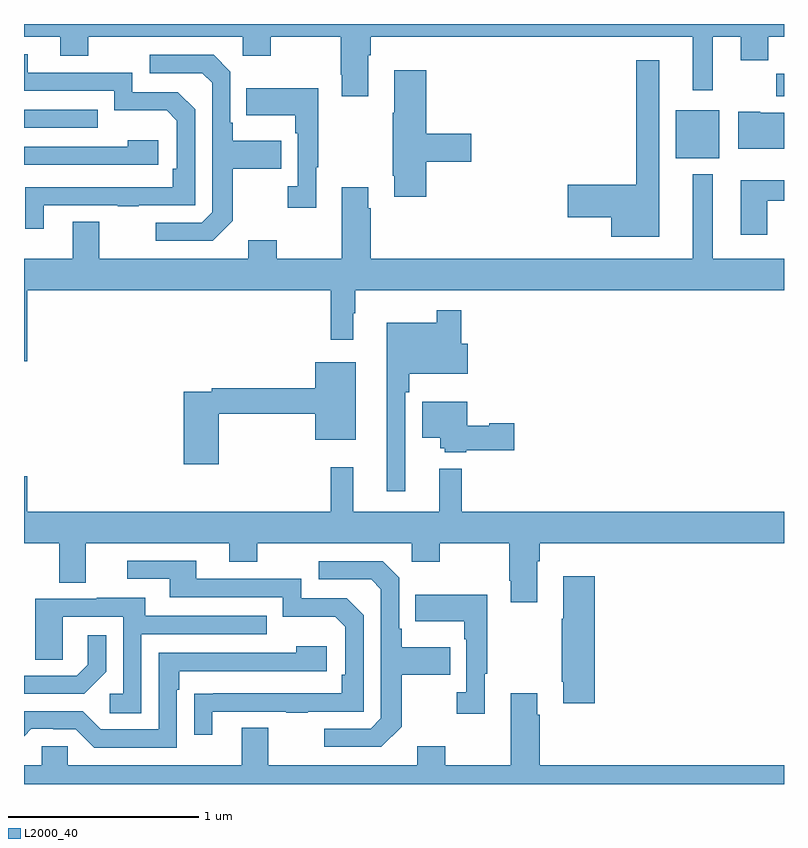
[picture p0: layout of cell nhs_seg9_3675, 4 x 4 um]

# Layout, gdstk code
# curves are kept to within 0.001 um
import gdstk
lib = gdstk.Library(unit=1e-6, precision=1e-09)
def R(c, l, rs):  # rectangles x0, y0, x1, y1
    for r in rs: c.add(gdstk.rectangle(r[:2], r[2:], *l))
def P(c, l, *ps):  # polygons
    for p in ps: c.add(gdstk.Polygon(p, *l))
L2000_40 = (2000, 40)

nhs_seg9_3675 = lib.new_cell('nhs_seg9_3675')
R(nhs_seg9_3675, L2000_40, [(324.431,1183.793,324.658,1184.047), (321,1183.953,321.389,1184.049), (324.958,1184.12,325,1184.239)])
P(nhs_seg9_3675, L2000_40, [(322.813,1184.336),(322.826,1184.336),(322.826,1184.432),(324.521,1184.432),(324.521,1184.151),(324.625,1184.151),(324.625,1184.432),(324.773,1184.432),(324.773,1184.308),(324.917,1184.308),(324.917,1184.432),(325,1184.432),(325,1184.5),(321,1184.5),(321,1184.432),(321.191,1184.432),(321.191,1184.333),(321.339,1184.333),(321.339,1184.432),(322.152,1184.432),(322.152,1184.333),(322.299,1184.333),(322.299,1184.432),(322.666,1184.432),(322.666,1184.233),(322.673,1184.233),(322.673,1184.121),(322.813,1184.121)],
  [(321.103,1183.545),(321.493,1183.545),(321.493,1183.54),(321.605,1183.54),(321.605,1183.545),(321.9,1183.545),(321.9,1184.052),(321.81,1184.142),(321.57,1184.142),(321.57,1184.244),(321.019,1184.244),(321.019,1184.34),(321,1184.34),(321,1184.148),(321.474,1184.148),(321.474,1184.045),(321.751,1184.045),(321.804,1183.992),(321.804,1183.738),(321.784,1183.738),(321.784,1183.641),(321.007,1183.64),(321.007,1183.422),(321.103,1183.422)],
  [(322.099,1183.465),(322.099,1183.738),(322.355,1183.738),(322.355,1183.885),(322.099,1183.885),(322.099,1183.981),(322.086,1183.981),(322.086,1184.25),(321.999,1184.337),(321.663,1184.337),(321.663,1184.241),(321.939,1184.241),(321.99,1184.19),(321.99,1183.509),(321.936,1183.455),(321.693,1183.455),(321.693,1183.359),(321.993,1183.359)],
  [(324.343,1184.308),(324.222,1184.308),(324.222,1183.655),(323.862,1183.655),(323.862,1183.484),(324.092,1183.484),(324.092,1183.379),(324.343,1183.379)],
  [(323.117,1183.775),(323.353,1183.775),(323.353,1183.922),(323.117,1183.922),(323.117,1184.257),(322.949,1184.257),(322.949,1184.033),(322.942,1184.033),(322.942,1183.702),(322.949,1183.702),(322.949,1183.59),(323.117,1183.59)],
  [(322.537,1183.745),(322.549,1183.745),(322.549,1184.161),(322.171,1184.161),(322.171,1184.021),(322.428,1184.021),(322.428,1183.925),(322.44,1183.925),(322.44,1183.646),(322.389,1183.646),(322.389,1183.533),(322.537,1183.533)],
  [(325,1184.032),(324.876,1184.032),(324.876,1184.038),(324.758,1184.038),(324.758,1183.844),(325,1183.844)],
  [(321.706,1183.888),(321.545,1183.888),(321.545,1183.854),(321,1183.854),(321,1183.758),(321.706,1183.758)],
  [(321.016,1183.1),(322.615,1183.1),(322.615,1182.837),(322.732,1182.837),(322.732,1182.977),(322.744,1182.977),(322.744,1183.1),(325,1183.1),(325,1183.264),(324.625,1183.264),(324.625,1183.708),(324.521,1183.708),(324.521,1183.264),(322.826,1183.264),(322.826,1183.529),(322.813,1183.529),(322.813,1183.642),(322.673,1183.642),(322.673,1183.264),(322.329,1183.264),(322.329,1183.363),(322.181,1183.363),(322.181,1183.264),(321.397,1183.264),(321.397,1183.459),(321.257,1183.459),(321.257,1183.264),(321,1183.264),(321,1182.726),(321.016,1182.726)],
  [(324.913,1183.569),(325,1183.569),(325,1183.678),(324.773,1183.678),(324.773,1183.392),(324.913,1183.392)],
  [(323.007,1182.563),(323.027,1182.563),(323.027,1182.659),(323.335,1182.659),(323.335,1182.817),(323.3,1182.817),(323.3,1182.994),(323.172,1182.994),(323.172,1182.928),(322.91,1182.928),(322.91,1182.042),(323.007,1182.042)],
  [(322.025,1182.448),(322.532,1182.448),(322.532,1182.311),(322.747,1182.311),(322.747,1182.721),(322.532,1182.721),(322.532,1182.584),(321.988,1182.584),(321.988,1182.564),(321.842,1182.564),(321.842,1182.183),(322.025,1182.183)],
  [(323.328,1182.256),(323.581,1182.256),(323.581,1182.398),(323.448,1182.398),(323.448,1182.385),(323.332,1182.385),(323.332,1182.511),(323.096,1182.511),(323.096,1182.323),(323.192,1182.323),(323.192,1182.267),(323.214,1182.267),(323.214,1182.245),(323.328,1182.245)],
  [(323.701,1181.672),(323.714,1181.672),(323.714,1181.768),(325,1181.768),(325,1181.932),(323.303,1181.932),(323.303,1182.16),(323.186,1182.16),(323.186,1181.932),(322.733,1181.932),(322.733,1182.166),(322.615,1182.166),(322.615,1181.932),(321.016,1181.932),(321.016,1182.121),(321,1182.121),(321,1181.768),(321.185,1181.768),(321.185,1181.56),(321.325,1181.56),(321.325,1181.768),(322.079,1181.768),(322.079,1181.669),(322.227,1181.669),(322.227,1181.768),(323.04,1181.768),(323.04,1181.669),(323.187,1181.669),(323.187,1181.768),(323.554,1181.768),(323.554,1181.569),(323.561,1181.569),(323.561,1181.457),(323.701,1181.457)],
  [(321.991,1180.881),(322.381,1180.881),(322.381,1180.876),(322.493,1180.876),(322.493,1180.881),(322.788,1180.881),(322.788,1181.388),(322.698,1181.478),(322.458,1181.478),(322.458,1181.58),(321.907,1181.58),(321.907,1181.676),(321.543,1181.676),(321.543,1181.58),(321.767,1181.58),(321.767,1181.484),(322.362,1181.484),(322.362,1181.381),(322.639,1181.381),(322.692,1181.328),(322.692,1181.074),(322.672,1181.074),(322.672,1180.977),(321.895,1180.976),(321.895,1180.758),(321.991,1180.758)],
  [(322.987,1180.801),(322.987,1181.074),(323.243,1181.074),(323.243,1181.221),(322.987,1181.221),(322.987,1181.317),(322.974,1181.317),(322.974,1181.586),(322.887,1181.673),(322.551,1181.673),(322.551,1181.577),(322.827,1181.577),(322.878,1181.526),(322.878,1180.845),(322.824,1180.791),(322.581,1180.791),(322.581,1180.695),(322.881,1180.695)],
  [(324.005,1181.593),(323.837,1181.593),(323.837,1181.369),(323.83,1181.369),(323.83,1181.038),(323.837,1181.038),(323.837,1180.926),(324.005,1180.926)],
  [(323.425,1181.081),(323.437,1181.081),(323.437,1181.497),(323.059,1181.497),(323.059,1181.357),(323.316,1181.357),(323.316,1181.261),(323.328,1181.261),(323.328,1180.982),(323.277,1180.982),(323.277,1180.869),(323.425,1180.869)],
  [(321.618,1181.289),(322.277,1181.289),(322.277,1181.385),(321.637,1181.385),(321.637,1181.479),(321.383,1181.479),(321.383,1181.475),(321.059,1181.475),(321.059,1181.155),(321.204,1181.155),(321.204,1181.379),(321.522,1181.379),(321.522,1180.974),(321.45,1180.974),(321.45,1180.873),(321.618,1180.873)],
  [(321.432,1181.09),(321.432,1181.284),(321.335,1181.284),(321.335,1181.127),(321.278,1181.07),(321,1181.07),(321,1180.974),(321.316,1180.974)],
  [(321.804,1180.997),(321.817,1180.997),(321.817,1181.094),(322.594,1181.094),(322.594,1181.224),(322.433,1181.224),(322.433,1181.19),(321.708,1181.19),(321.708,1180.788),(321.405,1180.788),(321.309,1180.884),(321,1180.884),(321,1180.752),(321.039,1180.791),(321.155,1180.791),(321.155,1180.788),(321.273,1180.788),(321.369,1180.692),(321.804,1180.692)],
  [(325,1180.6),(323.714,1180.6),(323.714,1180.865),(323.701,1180.865),(323.701,1180.978),(323.561,1180.978),(323.561,1180.6),(323.217,1180.6),(323.217,1180.699),(323.069,1180.699),(323.069,1180.6),(322.285,1180.6),(322.285,1180.795),(322.145,1180.795),(322.145,1180.6),(321.231,1180.6),(321.231,1180.698),(321.093,1180.698),(321.093,1180.6),(321,1180.6),(321,1180.5),(325,1180.5)])

lib.write_gds('nhs_seg9_3675.gds')
